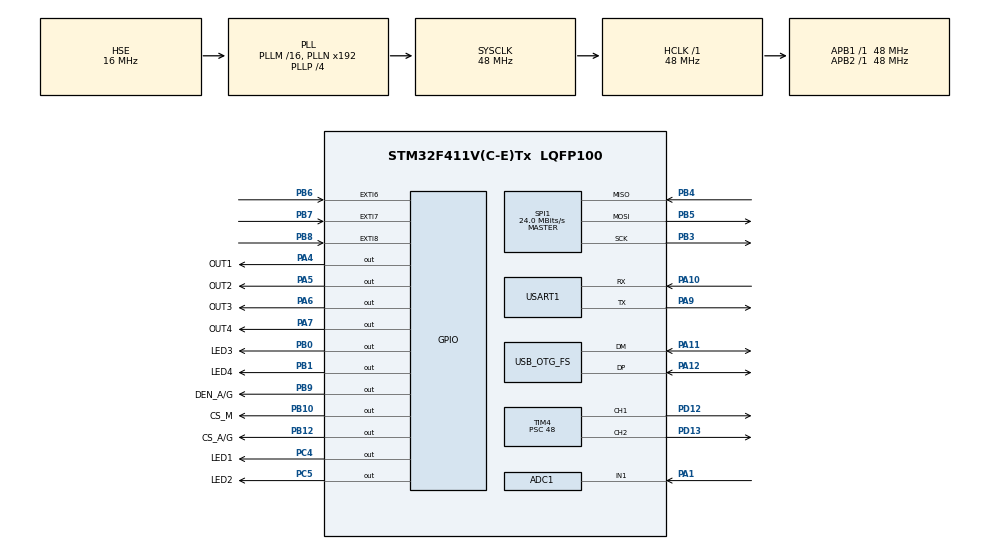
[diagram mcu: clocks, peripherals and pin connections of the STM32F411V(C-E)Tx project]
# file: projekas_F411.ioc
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ADC1.Channel-2\#ChannelRegularConversion=ADC_CHANNEL_1
ADC1.DMAContinuousRequests=ENABLE
ADC1.ExternalTrigConv=ADC_EXTERNALTRIGCONV_T2_TRGO
ADC1.NbrOfConversionFlag=1
ADC1.Rank-2\#ChannelRegularConversion=1
ADC1.SamplingTime-2\#ChannelRegularConversion=ADC_SAMPLETIME_3CYCLES
ADC1.ScanConvMode=ENABLE
ADC1.master=1
Dma.ADC1.0.Direction=DMA_PERIPH_TO_MEMORY
Dma.ADC1.0.FIFOMode=DMA_FIFOMODE_DISABLE
Dma.ADC1.0.Instance=DMA2_Stream0
Dma.ADC1.0.MemDataAlignment=DMA_MDATAALIGN_HALFWORD
Dma.ADC1.0.MemInc=DMA_MINC_ENABLE
Dma.ADC1.0.Mode=DMA_CIRCULAR
Dma.ADC1.0.PeriphDataAlignment=DMA_PDATAALIGN_HALFWORD
Dma.ADC1.0.PeriphInc=DMA_PINC_DISABLE
Dma.ADC1.0.Priority=DMA_PRIORITY_LOW
Dma.Request0=ADC1
Mcu.Family=STM32F4
Mcu.Name=STM32F411V(C-E)Tx
Mcu.Package=LQFP100
NVIC.DMA2_Stream0_IRQn=true\:0\:0\:false\:false\:true\:false\:true
NVIC.EXTI9_5_IRQn=true\:0\:0\:false\:false\:true\:true\:true
NVIC.OTG_FS_IRQn=true\:0\:0\:false\:false\:true\:false\:true
NVIC.PriorityGroup=NVIC_PRIORITYGROUP_4
PA1.Signal=ADCx_IN1
PA10.Mode=Asynchronous
PA10.Signal=USART1_RX
PA11.Mode=Device_Only
PA11.Signal=USB_OTG_FS_DM
PA12.Mode=Device_Only
PA12.Signal=USB_OTG_FS_DP
PA13.Mode=Serial_Wire
PA13.Signal=SYS_JTMS-SWDIO
PA14.Mode=Serial_Wire
PA14.Signal=SYS_JTCK-SWCLK
PA4.GPIO_Label=OUT1
PA4.Signal=GPIO_Output
PA5.GPIO_Label=OUT2
PA5.Signal=GPIO_Output
PA6.GPIO_Label=OUT3
PA6.Signal=GPIO_Output
PA7.GPIO_Label=OUT4
PA7.Signal=GPIO_Output
PA9.Mode=Asynchronous
PA9.Signal=USART1_TX
PB0.GPIO_Label=LED3
PB0.Signal=GPIO_Output
PB1.GPIO_Label=LED4
PB1.Signal=GPIO_Output
PB10.GPIO_Label=CS_M
PB10.Signal=GPIO_Output
PB12.GPIO_Label=CS_A/G
PB12.PinState=GPIO_PIN_SET
PB12.Signal=GPIO_Output
PB3.Mode=Full_Duplex_Master
PB3.Signal=SPI1_SCK
PB4.Mode=Full_Duplex_Master
PB4.Signal=SPI1_MISO
PB5.Mode=Full_Duplex_Master
PB5.Signal=SPI1_MOSI
PB6.Signal=GPXTI6
PB7.Signal=GPXTI7
PB8.Signal=GPXTI8
PB9.GPIO_Label=DEN_A/G
PB9.Signal=GPIO_Output
PC4.GPIO_Label=LED1
PC4.Signal=GPIO_Output
PC5.GPIO_Label=LED2
PC5.Signal=GPIO_Output
PD12.Signal=S_TIM4_CH1
PD13.Signal=S_TIM4_CH2
PH0\ -\ OSC_IN.Mode=HSE-External-Oscillator
PH0\ -\ OSC_IN.Signal=RCC_OSC_IN
PH1\ -\ OSC_OUT.Mode=HSE-External-Oscillator
PH1\ -\ OSC_OUT.Signal=RCC_OSC_OUT
ProjectManager.HeapSize=0x2000
ProjectManager.StackSize=0x4000
ProjectManager.TargetToolchain=STM32CubeIDE
RCC.48MHZClocksFreq_Value=48000000
RCC.AHBFreq_Value=48000000
RCC.APB1Freq_Value=48000000
RCC.APB1TimFreq_Value=48000000
RCC.APB2Freq_Value=48000000
RCC.APB2TimFreq_Value=48000000
RCC.CortexFreq_Value=48000000
RCC.HCLKFreq_Value=48000000
RCC.HSE_VALUE=16000000
RCC.HSI_VALUE=16000000
RCC.LSE_VALUE=32768
RCC.MSICalibrationValue=0
RCC.PLLP=RCC_PLLP_DIV4
RCC.SYSCLKFreq_VALUE=48000000
RCC.SYSCLKSource=RCC_SYSCLKSOURCE_PLLCLK
RCC.VCOOutputFreq_Value=192000000
SH.ADCx_IN1.0=ADC1_IN1,IN1
SH.S_TIM4_CH1.0=TIM4_CH1,PWM Generation1 CH1
SH.S_TIM4_CH2.0=TIM4_CH2,PWM Generation2 CH2
SPI1.BaudRatePrescaler=SPI_BAUDRATEPRESCALER_2
SPI1.CalculateBaudRate=24.0 MBits/s
SPI1.Direction=SPI_DIRECTION_2LINES
SPI1.Mode=SPI_MODE_MASTER
SPI1.VirtualType=VM_MASTER
TIM2.Channel-Output\ Compare1\ No\ Output=TIM_CHANNEL_1
TIM2.Period=10000-1
TIM2.Prescaler=4800-1
TIM2.TIM_MasterOutputTrigger=TIM_TRGO_UPDATE
TIM4.Channel-PWM\ Generation1\ CH1=TIM_CHANNEL_1
TIM4.Channel-PWM\ Generation2\ CH2=TIM_CHANNEL_2
TIM4.Period=100
TIM4.Prescaler=48
USART1.VirtualMode=VM_ASYNC
USB_DEVICE.CLASS_NAME_FS=CDC
USB_DEVICE.VirtualMode=Cdc
USB_DEVICE.VirtualModeFS=Cdc_FS
USB_OTG_FS.VirtualMode=Device_Only
VP_TIM2_VS_no_output1.Mode=Output Compare1 No Output
VP_TIM4_VS_ClockSourceINT.Mode=Internal
VP_USB_DEVICE_VS_USB_DEVICE_CDC_FS.Mode=CDC_FS
board=custom

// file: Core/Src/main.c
/* USER CODE BEGIN Header */
/**
  ******************************************************************************
  * @file           : main.c
  * @brief          : Main program body
  ******************************************************************************
  * @attention
  *
  * <h2><center>&copy; Copyright (c) 2020 STMicroelectronics.
  * All rights reserved.</center></h2>
  *
  * This software component is licensed by ST under BSD 3-Clause license,
  * the "License"; You may not use this file except in compliance with the
  * License. You may obtain a copy of the License at:
  *                        opensource.org/licenses/BSD-3-Clause
  *
  ******************************************************************************
  */
/* USER CODE END Header */
#include "main.h"
#include "usb_device.h"

/* USER CODE BEGIN Includes */
#include "usbd_cdc_if.h"
#include <stdio.h>
#include <string.h>
/* USER CODE END Includes */

/* USER CODE BEGIN PD */
#define out1_out3(a) HAL_GPIO_WritePin(GPIOA, GPIO_PIN_4 | GPIO_PIN_6, a)
#define out2_out4(b) HAL_GPIO_WritePin(GPIOA, GPIO_PIN_5 | GPIO_PIN_7, b)
#define out1_out4(c) HAL_GPIO_WritePin(GPIOA, GPIO_PIN_4 | GPIO_PIN_7, c)
#define out2_out3(d) HAL_GPIO_WritePin(GPIOA, GPIO_PIN_5 | GPIO_PIN_6, d)
#define CS_AG_value(m) HAL_GPIO_WritePin(GPIOB, GPIO_PIN_12, m)
#define battery_aliarm(z) HAL_GPIO_WritePin(GPIOC, GPIO_PIN_4, z)

#define battery_threshold 3276 // atitinka 10V is baterijos, o kontroleryje 2.4V

/* USER CODE END PD */

ADC_HandleTypeDef hadc1;
DMA_HandleTypeDef hdma_adc1;

SPI_HandleTypeDef hspi1;

TIM_HandleTypeDef htim2;
TIM_HandleTypeDef htim4;

UART_HandleTypeDef huart1;

/* USER CODE BEGIN PV */
int8_t receivedData[3]; // kintamasis duomenu gavimui is kompiuterio
uint8_t Receiveflag, DataReadingFlag; // veleveles
uint8_t spiTXbuf[2], data_acc_gyr[12]; // jutiklio nuskaitymui reikalingi kintamieji
uint16_t adcvalue[1]; // is ADC gauta verte
/* USER CODE END PV */

void SystemClock_Config(void);
static void MX_GPIO_Init(void);
static void MX_DMA_Init(void);
static void MX_TIM4_Init(void);
static void MX_SPI1_Init(void);
static void MX_USART1_UART_Init(void);
static void MX_ADC1_Init(void);
static void MX_TIM2_Init(void);
/* USER CODE BEGIN PFP */
/**
 ******************************************************************************
* @note funkcija nuskaito is jutiklio LSM9DS1 giroskopo ir akselerometro duomenis
*/

void reading_sensor(void)
{
	// nuskaitomi giroskopo ir akselerometro duomenys 12 baitu
	    CS_AG_value(GPIO_PIN_RESET); // pinas CS_A/G padaromas zemo lygio
	    spiTXbuf[0] = 0x18|0x80;
	    HAL_SPI_Transmit(&hspi1,spiTXbuf,1,50); // i pirma skaitoma registra nusiunciama komanda 0x80 ijungiamas skaitymo rezimas
	    HAL_SPI_Receive(&hspi1,data_acc_gyr, 12, 50); // nuskaitomi duomenys
	    CS_AG_value(GPIO_PIN_SET); // pinas CS_A/G padaromas auksto lygio
}
/**
 ******************************************************************************
* @note funkcija reikalinga patikrinimui ar jau yra naujas duomenu paketas kuri reikia nuskaityti
*/
void HAL_GPIO_EXTI_Callback(uint16_t GPIO_Pin)
{
  /* Prevent unused argument(s) compilation warning */
  UNUSED(GPIO_Pin);
  /* NOTE: This function Should not be modified, when the callback is needed,
           the HAL_GPIO_EXTI_Callback could be implemented in the user file
   */
  DataReadingFlag = 1;
}
/**
 ******************************************************************************
* @note Baterijos itampos lygio matavimui reikalinga funkcija
*/

void HAL_ADC_ConvCpltCallback(ADC_HandleTypeDef* hadc){
  /* This is called after the conversion is completed */
}

/**
 ******************************************************************************
* @note funkcija tikrina ar ADC verte nenukrito zemiau negu nustatyta riba
* jeigu nukrito zemiau ribos ijungiamas sviesos diodas.
*/
void checking_baterry(void)
{
	if(adcvalue[0] <= battery_threshold)
	{
	  battery_aliarm(GPIO_PIN_SET);
	}
	else
	{
	  battery_aliarm(GPIO_PIN_RESET);
	}
}

/**
 ******************************************************************************
* @note funkcija duomenu nuskaitymui is kompiuterio

*/
void CDC_ReceiveCallback(uint8_t *buf, uint32_t len){
	Receiveflag = 1;
    memcpy(receivedData, buf, strlen((char* )buf));
    //CDC_Transmit_FS(buf, len);
}
/**
 ******************************************************************************
* @note funkcija kuri kontroluoja motoru sukimosi krypti

*/
void Motors_Control(int8_t DutyCycleA, int8_t DutyCycleB) {
	htim4.Instance->CCR1 = abs(DutyCycleA);  // Motor A speed control
	htim4.Instance->CCR2 = abs(DutyCycleB);  // Motor B speed control

	// moving forward
	if (DutyCycleA > 0 && DutyCycleB > 0) {
		out1_out3(GPIO_PIN_RESET);
		out2_out4(GPIO_PIN_SET);

	}

	// moving backward
	if (DutyCycleA < 0 && DutyCycleB < 0) {
		out1_out3(GPIO_PIN_SET);
		out2_out4(GPIO_PIN_RESET);
	}

	// stop
	if (DutyCycleA == 0 && DutyCycleB == 0) {
		out1_out3(GPIO_PIN_RESET);
		out2_out4(GPIO_PIN_RESET);
	}

	// moving to left
	if(DutyCycleA < 0 && DutyCycleB > 0) {
		out1_out4(GPIO_PIN_SET);
		out2_out3(GPIO_PIN_RESET);
	}

	// moving to right
	if (DutyCycleA > 0 && DutyCycleB < 0) {
		out1_out4(GPIO_PIN_RESET);
		out2_out3(GPIO_PIN_SET);
	}
}
/**
 ******************************************************************************
* @note tikrinamas gautas paketas is kompiuterio pagal gauta paketa
* arba paleidziamo motorai arba siunciami is jutiklio nuskaityti duomenys i kompiuteri
*/
void checking_package(uint8_t data_request)
{
	if(data_request == 'M')
		Motors_Control(receivedData[1], receivedData[2]);
	else
		CDC_Transmit_FS(data_acc_gyr, strlen((char *)data_acc_gyr));
}
/* USER CODE END PFP */

int main(void)
{

  /* MCU Configuration--------------------------------------------------------*/

  /* Reset of all peripherals, Initializes the Flash interface and the Systick. */
  HAL_Init();

  /* Configure the system clock */
  SystemClock_Config();

  /* Initialize all configured peripherals */
  MX_GPIO_Init();
  MX_DMA_Init();
  MX_TIM4_Init();
  MX_SPI1_Init();
  MX_USART1_UART_Init();
  MX_USB_DEVICE_Init();
  MX_ADC1_Init();
  MX_TIM2_Init();
  /* USER CODE BEGIN 2 */
  HAL_TIM_PWM_Start(&htim4, TIM_CHANNEL_1); // paleidziami laikmaciai PWM signalo generavimui
  HAL_TIM_PWM_Start(&htim4, TIM_CHANNEL_2);

  HAL_ADC_Start_DMA(&hadc1, (uint32_t*)&adcvalue, 1); // paleidziamas ADC baterijos itampos lygio matavimui
  HAL_TIM_Base_Start_IT(&htim2);

  //*****************************************************//
  //komandu rasymas i jutikllio registrus
  // CTRL_REG1_G paleidziamas giroskopas
    CS_AG_value(GPIO_PIN_RESET); // pinas CS_A/G padaromas zemo lygio
    spiTXbuf[0] = 0x10;
    spiTXbuf[1] = 0x80;
    HAL_SPI_Transmit(&hspi1,spiTXbuf,2,50); // siunciama registras + duomenys rasomi i registra
    CS_AG_value(GPIO_PIN_SET); // pinas CS_A/G padaromas auksto lygio

   // CTRL_REG6_XL  paleidziamas akselerometras
    CS_AG_value(GPIO_PIN_RESET); // pinas CS_A/G padaromas zemo lygio
    spiTXbuf[0] = 0x20;
    spiTXbuf[1] = 0x80;
    HAL_SPI_Transmit(&hspi1,spiTXbuf,2,50); // siunciama registras + duomenys rasomi i registra
    CS_AG_value(GPIO_PIN_SET); // pinas CS_A/G padaromas auksto lygio

    // INT1_CTRL paleidziama giroskopo ir akselerometro pertrauktys
    CS_AG_value(GPIO_PIN_RESET); // pinas CS_A/G padaromas zemo lygio
    spiTXbuf[0] = 0x0C;
    spiTXbuf[1] = 0xC3;
    HAL_SPI_Transmit(&hspi1,spiTXbuf,2,50); // siunciama registras + duomenys rasomi i registra
    CS_AG_value(GPIO_PIN_SET); // pinas CS_A/G padaromas auksto lygio

    //*****************************************************//

  /* USER CODE END 2 */

  /* Infinite loop */
  while (1)
  {

    /* USER CODE BEGIN 3 */
	  if(DataReadingFlag == 1)
	  	  {
	  		  DataReadingFlag = 0;
	  		  reading_sensor();
	  	  }

	  if(Receiveflag == 1)
	  		{
	  			Receiveflag = 0;
	  	  	  	checking_package(receivedData[0]);
	  		}
	  checking_baterry();
  }
  /* USER CODE END 3 */
}

void SystemClock_Config(void)
{
  RCC_OscInitTypeDef RCC_OscInitStruct = {0};
  RCC_ClkInitTypeDef RCC_ClkInitStruct = {0};

  /** Configure the main internal regulator output voltage
  */
  __HAL_RCC_PWR_CLK_ENABLE();
  __HAL_PWR_VOLTAGESCALING_CONFIG(PWR_REGULATOR_VOLTAGE_SCALE1);
  /** Initializes the RCC Oscillators according to the specified parameters
  * in the RCC_OscInitTypeDef structure.
  */
  RCC_OscInitStruct.OscillatorType = RCC_OSCILLATORTYPE_HSE;
  RCC_OscInitStruct.HSEState = RCC_HSE_ON;
  RCC_OscInitStruct.PLL.PLLState = RCC_PLL_ON;
  RCC_OscInitStruct.PLL.PLLSource = RCC_PLLSOURCE_HSE;
  RCC_OscInitStruct.PLL.PLLM = 16;
  RCC_OscInitStruct.PLL.PLLN = 192;
  RCC_OscInitStruct.PLL.PLLP = RCC_PLLP_DIV4;
  RCC_OscInitStruct.PLL.PLLQ = 4;
  if (HAL_RCC_OscConfig(&RCC_OscInitStruct) != HAL_OK)
  {
    Error_Handler();
  }
  /** Initializes the CPU, AHB and APB buses clocks
  */
  RCC_ClkInitStruct.ClockType = RCC_CLOCKTYPE_HCLK|RCC_CLOCKTYPE_SYSCLK
                              |RCC_CLOCKTYPE_PCLK1|RCC_CLOCKTYPE_PCLK2;
  RCC_ClkInitStruct.SYSCLKSource = RCC_SYSCLKSOURCE_PLLCLK;
  RCC_ClkInitStruct.AHBCLKDivider = RCC_SYSCLK_DIV1;
  RCC_ClkInitStruct.APB1CLKDivider = RCC_HCLK_DIV1;
  RCC_ClkInitStruct.APB2CLKDivider = RCC_HCLK_DIV1;

  if (HAL_RCC_ClockConfig(&RCC_ClkInitStruct, FLASH_LATENCY_1) != HAL_OK)
  {
    Error_Handler();
  }
}

static void MX_ADC1_Init(void)
{

  ADC_ChannelConfTypeDef sConfig = {0};

  /** Configure the global features of the ADC (Clock, Resolution, Data Alignment and number of conversion)
  */
  hadc1.Instance = ADC1;
  hadc1.Init.ClockPrescaler = ADC_CLOCK_SYNC_PCLK_DIV2;
  hadc1.Init.Resolution = ADC_RESOLUTION_12B;
  hadc1.Init.ScanConvMode = ENABLE;
  hadc1.Init.ContinuousConvMode = DISABLE;
  hadc1.Init.DiscontinuousConvMode = DISABLE;
  hadc1.Init.ExternalTrigConvEdge = ADC_EXTERNALTRIGCONVEDGE_RISING;
  hadc1.Init.ExternalTrigConv = ADC_EXTERNALTRIGCONV_T2_TRGO;
  hadc1.Init.DataAlign = ADC_DATAALIGN_RIGHT;
  hadc1.Init.NbrOfConversion = 1;
  hadc1.Init.DMAContinuousRequests = ENABLE;
  hadc1.Init.EOCSelection = ADC_EOC_SINGLE_CONV;
  if (HAL_ADC_Init(&hadc1) != HAL_OK)
  {
    Error_Handler();
  }
  /** Configure for the selected ADC regular channel its corresponding rank in the sequencer and its sample time.
  */
  sConfig.Channel = ADC_CHANNEL_1;
  sConfig.Rank = 1;
  sConfig.SamplingTime = ADC_SAMPLETIME_3CYCLES;
  if (HAL_ADC_ConfigChannel(&hadc1, &sConfig) != HAL_OK)
  {
    Error_Handler();
  }

}

static void MX_SPI1_Init(void)
{

  /* SPI1 parameter configuration*/
  hspi1.Instance = SPI1;
  hspi1.Init.Mode = SPI_MODE_MASTER;
  hspi1.Init.Direction = SPI_DIRECTION_2LINES;
  hspi1.Init.DataSize = SPI_DATASIZE_8BIT;
  hspi1.Init.CLKPolarity = SPI_POLARITY_LOW;
  hspi1.Init.CLKPhase = SPI_PHASE_1EDGE;
  hspi1.Init.NSS = SPI_NSS_SOFT;
  hspi1.Init.BaudRatePrescaler = SPI_BAUDRATEPRESCALER_2;
  hspi1.Init.FirstBit = SPI_FIRSTBIT_MSB;
  hspi1.Init.TIMode = SPI_TIMODE_DISABLE;
  hspi1.Init.CRCCalculation = SPI_CRCCALCULATION_DISABLE;
  hspi1.Init.CRCPolynomial = 10;
  if (HAL_SPI_Init(&hspi1) != HAL_OK)
  {
    Error_Handler();
  }

}

static void MX_TIM2_Init(void)
{

  TIM_MasterConfigTypeDef sMasterConfig = {0};
  TIM_OC_InitTypeDef sConfigOC = {0};

  htim2.Instance = TIM2;
  htim2.Init.Prescaler = 4800-1;
  htim2.Init.CounterMode = TIM_COUNTERMODE_UP;
  htim2.Init.Period = 10000-1;
  htim2.Init.ClockDivision = TIM_CLOCKDIVISION_DIV1;
  htim2.Init.AutoReloadPreload = TIM_AUTORELOAD_PRELOAD_DISABLE;
  if (HAL_TIM_OC_Init(&htim2) != HAL_OK)
  {
    Error_Handler();
  }
  sMasterConfig.MasterOutputTrigger = TIM_TRGO_UPDATE;
  sMasterConfig.MasterSlaveMode = TIM_MASTERSLAVEMODE_DISABLE;
  if (HAL_TIMEx_MasterConfigSynchronization(&htim2, &sMasterConfig) != HAL_OK)
  {
    Error_Handler();
  }
  sConfigOC.OCMode = TIM_OCMODE_TIMING;
  sConfigOC.Pulse = 0;
  sConfigOC.OCPolarity = TIM_OCPOLARITY_HIGH;
  sConfigOC.OCFastMode = TIM_OCFAST_DISABLE;
  if (HAL_TIM_OC_ConfigChannel(&htim2, &sConfigOC, TIM_CHANNEL_1) != HAL_OK)
  {
    Error_Handler();
  }

}

static void MX_TIM4_Init(void)
{

  TIM_ClockConfigTypeDef sClockSourceConfig = {0};
  TIM_MasterConfigTypeDef sMasterConfig = {0};
  TIM_OC_InitTypeDef sConfigOC = {0};

  htim4.Instance = TIM4;
  htim4.Init.Prescaler = 48;
  htim4.Init.CounterMode = TIM_COUNTERMODE_UP;
  htim4.Init.Period = 100;
  htim4.Init.ClockDivision = TIM_CLOCKDIVISION_DIV1;
  htim4.Init.AutoReloadPreload = TIM_AUTORELOAD_PRELOAD_DISABLE;
  if (HAL_TIM_Base_Init(&htim4) != HAL_OK)
  {
    Error_Handler();
  }
  sClockSourceConfig.ClockSource = TIM_CLOCKSOURCE_INTERNAL;
  if (HAL_TIM_ConfigClockSource(&htim4, &sClockSourceConfig) != HAL_OK)
  {
    Error_Handler();
  }
  if (HAL_TIM_PWM_Init(&htim4) != HAL_OK)
  {
    Error_Handler();
  }
  sMasterConfig.MasterOutputTrigger = TIM_TRGO_RESET;
  sMasterConfig.MasterSlaveMode = TIM_MASTERSLAVEMODE_DISABLE;
  if (HAL_TIMEx_MasterConfigSynchronization(&htim4, &sMasterConfig) != HAL_OK)
  {
    Error_Handler();
  }
  sConfigOC.OCMode = TIM_OCMODE_PWM1;
  sConfigOC.Pulse = 0;
  sConfigOC.OCPolarity = TIM_OCPOLARITY_HIGH;
  sConfigOC.OCFastMode = TIM_OCFAST_DISABLE;
  if (HAL_TIM_PWM_ConfigChannel(&htim4, &sConfigOC, TIM_CHANNEL_1) != HAL_OK)
  {
    Error_Handler();
  }
  if (HAL_TIM_PWM_ConfigChannel(&htim4, &sConfigOC, TIM_CHANNEL_2) != HAL_OK)
  {
    Error_Handler();
  }
  HAL_TIM_MspPostInit(&htim4);

}

static void MX_USART1_UART_Init(void)
{

  huart1.Instance = USART1;
  huart1.Init.BaudRate = 115200;
  huart1.Init.WordLength = UART_WORDLENGTH_8B;
  huart1.Init.StopBits = UART_STOPBITS_1;
  huart1.Init.Parity = UART_PARITY_NONE;
  huart1.Init.Mode = UART_MODE_TX_RX;
  huart1.Init.HwFlowCtl = UART_HWCONTROL_NONE;
  huart1.Init.OverSampling = UART_OVERSAMPLING_16;
  if (HAL_UART_Init(&huart1) != HAL_OK)
  {
    Error_Handler();
  }

}

static void MX_DMA_Init(void)
{

  /* DMA controller clock enable */
  __HAL_RCC_DMA2_CLK_ENABLE();

  /* DMA interrupt init */
  /* DMA2_Stream0_IRQn interrupt configuration */
  HAL_NVIC_SetPriority(DMA2_Stream0_IRQn, 0, 0);
  HAL_NVIC_EnableIRQ(DMA2_Stream0_IRQn);

}

static void MX_GPIO_Init(void)
{
  GPIO_InitTypeDef GPIO_InitStruct = {0};

  /* GPIO Ports Clock Enable */
  __HAL_RCC_GPIOH_CLK_ENABLE();
  __HAL_RCC_GPIOA_CLK_ENABLE();
  __HAL_RCC_GPIOC_CLK_ENABLE();
  __HAL_RCC_GPIOB_CLK_ENABLE();
  __HAL_RCC_GPIOD_CLK_ENABLE();

  /*Configure GPIO pin Output Level */
  HAL_GPIO_WritePin(GPIOA, OUT1_Pin|OUT2_Pin|OUT3_Pin|OUT4_Pin, GPIO_PIN_RESET);

  /*Configure GPIO pin Output Level */
  HAL_GPIO_WritePin(GPIOC, LED1_Pin|LED2_Pin, GPIO_PIN_RESET);

  /*Configure GPIO pin Output Level */
  HAL_GPIO_WritePin(GPIOB, LED3_Pin|LED4_Pin|CS_M_Pin|DEN_A_G_Pin, GPIO_PIN_RESET);

  /*Configure GPIO pin Output Level */
  HAL_GPIO_WritePin(CS_A_G_GPIO_Port, CS_A_G_Pin, GPIO_PIN_SET);

  /*Configure GPIO pins : OUT1_Pin OUT2_Pin OUT3_Pin OUT4_Pin */
  GPIO_InitStruct.Pin = OUT1_Pin|OUT2_Pin|OUT3_Pin|OUT4_Pin;
  GPIO_InitStruct.Mode = GPIO_MODE_OUTPUT_PP;
  GPIO_InitStruct.Pull = GPIO_NOPULL;
  GPIO_InitStruct.Speed = GPIO_SPEED_FREQ_LOW;
  HAL_GPIO_Init(GPIOA, &GPIO_InitStruct);

  /*Configure GPIO pins : LED1_Pin LED2_Pin */
  GPIO_InitStruct.Pin = LED1_Pin|LED2_Pin;
  GPIO_InitStruct.Mode = GPIO_MODE_OUTPUT_PP;
  GPIO_InitStruct.Pull = GPIO_NOPULL;
  GPIO_InitStruct.Speed = GPIO_SPEED_FREQ_LOW;
  HAL_GPIO_Init(GPIOC, &GPIO_InitStruct);

  /*Configure GPIO pins : LED3_Pin LED4_Pin CS_M_Pin CS_A_G_Pin
                           DEN_A_G_Pin */
  GPIO_InitStruct.Pin = LED3_Pin|LED4_Pin|CS_M_Pin|CS_A_G_Pin
                          |DEN_A_G_Pin;
  GPIO_InitStruct.Mode = GPIO_MODE_OUTPUT_PP;
  GPIO_InitStruct.Pull = GPIO_NOPULL;
  GPIO_InitStruct.Speed = GPIO_SPEED_FREQ_LOW;
  HAL_GPIO_Init(GPIOB, &GPIO_InitStruct);

  /*Configure GPIO pins : PB6 PB7 PB8 */
  GPIO_InitStruct.Pin = GPIO_PIN_6|GPIO_PIN_7|GPIO_PIN_8;
  GPIO_InitStruct.Mode = GPIO_MODE_IT_RISING;
  GPIO_InitStruct.Pull = GPIO_NOPULL;
  HAL_GPIO_Init(GPIOB, &GPIO_InitStruct);

  /* EXTI interrupt init*/
  HAL_NVIC_SetPriority(EXTI9_5_IRQn, 0, 0);
  HAL_NVIC_EnableIRQ(EXTI9_5_IRQn);

}

void Error_Handler(void)
{
}

/************************ (C) COPYRIGHT STMicroelectronics *****END OF FILE****/
